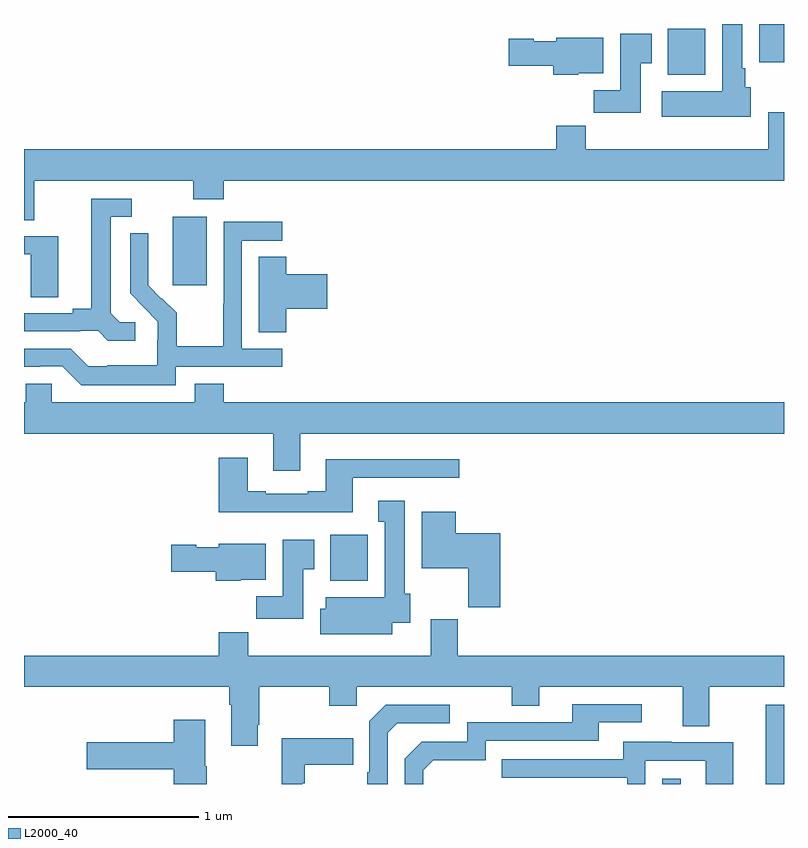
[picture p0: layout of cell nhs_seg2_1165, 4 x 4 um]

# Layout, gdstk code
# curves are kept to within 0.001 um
import gdstk
lib = gdstk.Library(unit=1e-6, precision=1e-09)
def R(c, l, rs):  # rectangles x0, y0, x1, y1
    for r in rs: c.add(gdstk.rectangle(r[:2], r[2:], *l))
def P(c, l, *ps):  # polygons
    for p in ps: c.add(gdstk.Polygon(p, *l))
L2000_40 = (2000, 40)

nhs_seg2_1165 = lib.new_cell('nhs_seg2_1165')
R(nhs_seg2_1165, L2000_40, [(174.36,637.8,174.457,637.828), (174.905,637.8,175,638.217), (172.613,638.87,172.81,639.112), (171.782,640.425,171.961,640.786), (174.389,641.534,174.586,641.776), (174.869,641.6,175,641.8)])
P(nhs_seg2_1165, L2000_40, [(174.826,641.466),(174.796,641.466),(174.796,641.566),(174.781,641.566),(174.781,641.8),(174.674,641.8),(174.674,641.446),(174.357,641.446),(174.357,641.312),(174.826,641.312)],
  [(174.247,641.593),(174.304,641.593),(174.304,641.749),(174.137,641.749),(174.137,641.452),(173.998,641.452),(173.998,641.334),(174.247,641.334)],
  [(173.916,641.54),(174.049,641.54),(174.049,641.728),(173.802,641.728),(173.802,641.71),(173.682,641.71),(173.682,641.723),(173.55,641.723),(173.55,641.581),(173.786,641.581),(173.786,641.534),(173.916,641.534)],
  [(171.055,640.976),(171.892,640.976),(171.892,640.877),(172.052,640.877),(172.052,640.976),(175,640.976),(175,641.335),(174.917,641.335),(174.917,641.14),(173.957,641.14),(173.957,641.264),(173.801,641.264),(173.801,641.14),(171,641.14),(171,640.768),(171.055,640.768)],
  [(171.586,640.23),(171.504,640.23),(171.457,640.277),(171.457,640.785),(171.568,640.785),(171.568,640.881),(171.353,640.881),(171.353,640.301),(171.257,640.301),(171.257,640.278),(171,640.278),(171,640.182),(171.296,640.182),(171.296,640.185),(171.39,640.185),(171.442,640.133),(171.586,640.133)],
  [(171.798,639.996),(172.36,639.996),(172.36,640.092),(172.146,640.092),(172.146,640.659),(172.36,640.659),(172.36,640.758),(172.05,640.758),(172.05,640.328),(172.048,640.328),(172.048,640.105),(171.803,640.105),(171.803,640.279),(171.726,640.356),(171.723,640.353),(171.653,640.424),(171.654,640.7),(171.558,640.7),(171.558,640.382),(171.704,640.234),(171.704,640.137),(171.702,640.137),(171.702,640.003),(171.439,640.003),(171.439,639.999),(171.339,639.999),(171.246,640.092),(171,640.092),(171,639.996),(171.086,639.996),(171.086,639.999),(171.201,639.999),(171.301,639.899),(171.798,639.899)],
  [(171.181,640.683),(171,640.683),(171,640.587),(171.036,640.587),(171.036,640.363),(171.181,640.363)],
  [(172.379,640.301),(172.597,640.301),(172.597,640.484),(172.379,640.484),(172.379,640.574),(172.235,640.574),(172.235,640.177),(172.379,640.177)],
  [(172.453,639.644),(175,639.644),(175,639.808),(172.052,639.808),(172.052,639.907),(171.899,639.907),(171.899,639.808),(171.147,639.808),(171.147,639.906),(171.009,639.906),(171.009,639.808),(171,639.808),(171,639.644),(172.313,639.644),(172.313,639.45),(172.453,639.45)],
  [(172.729,639.411),(173.29,639.411),(173.29,639.508),(172.589,639.508),(172.589,639.34),(172.493,639.34),(172.493,639.327),(172.273,639.327),(172.273,639.34),(172.177,639.34),(172.177,639.517),(172.025,639.517),(172.025,639.23),(172.729,639.23)],
  [(172.939,638.648),(173.032,638.648),(173.032,638.802),(173.005,638.802),(173.005,639.292),(172.865,639.292),(172.865,639.179),(172.898,639.179),(172.898,638.782),(172.589,638.782),(172.589,638.723),(172.559,638.723),(172.559,638.588),(172.939,638.588)],
  [(173.507,639.121),(173.272,639.121),(173.272,639.232),(173.093,639.232),(173.093,638.936),(173.337,638.936),(173.337,638.731),(173.507,638.731)],
  [(172.471,638.929),(172.528,638.929),(172.528,639.085),(172.361,639.085),(172.361,638.788),(172.222,638.788),(172.222,638.67),(172.471,638.67)],
  [(172.14,638.876),(172.273,638.876),(172.273,639.064),(172.026,639.064),(172.026,639.046),(171.906,639.046),(171.906,639.059),(171.774,639.059),(171.774,638.917),(172.01,638.917),(172.01,638.87),(172.14,638.87)],
  [(172.231,638.113),(172.239,638.113),(172.239,638.312),(172.606,638.312),(172.606,638.213),(172.752,638.213),(172.752,638.312),(173.566,638.312),(173.566,638.213),(173.713,638.213),(173.713,638.312),(174.467,638.312),(174.467,638.104),(174.607,638.104),(174.607,638.312),(175,638.312),(175,638.476),(173.282,638.476),(173.282,638.666),(173.141,638.666),(173.141,638.476),(172.181,638.476),(172.181,638.6),(172.025,638.6),(172.025,638.476),(171,638.476),(171,638.312),(172.079,638.312),(172.079,638.216),(172.091,638.216),(172.091,638.001),(172.231,638.001)],
  [(173.1,637.872),(173.153,637.925),(173.43,637.925),(173.43,638.028),(174.025,638.028),(174.025,638.124),(174.25,638.124),(174.25,638.22),(173.885,638.22),(173.885,638.124),(173.334,638.124),(173.334,638.022),(173.094,638.022),(173.004,637.932),(173.004,637.8),(173.1,637.8)],
  [(172.914,638.07),(172.965,638.121),(173.242,638.121),(173.242,638.217),(172.905,638.217),(172.818,638.13),(172.818,637.861),(172.806,637.861),(172.806,637.8),(172.914,637.8)],
  [(171.963,637.893),(171.955,637.893),(171.955,638.137),(171.788,638.137),(171.788,638.019),(171.33,638.019),(171.33,637.877),(171.788,637.877),(171.788,637.8),(171.963,637.8)],
  [(172.464,637.805),(172.477,637.805),(172.477,637.901),(172.733,637.901),(172.733,638.041),(172.356,638.041),(172.356,637.8),(172.464,637.8)],
  [(174.27,637.923),(174.588,637.923),(174.588,637.8),(174.733,637.8),(174.733,638.019),(174.409,638.019),(174.409,638.023),(174.155,638.023),(174.155,637.929),(173.515,637.929),(173.515,637.833),(174.174,637.833),(174.174,637.8),(174.27,637.8)])

lib.write_gds('nhs_seg2_1165.gds')
